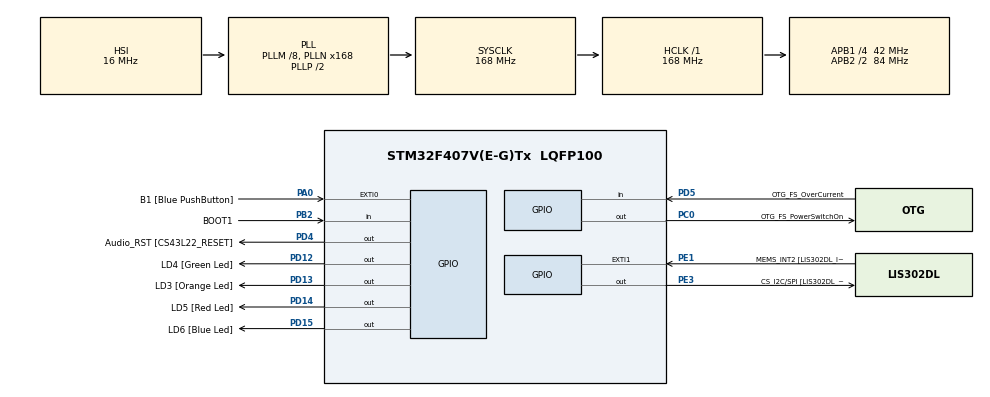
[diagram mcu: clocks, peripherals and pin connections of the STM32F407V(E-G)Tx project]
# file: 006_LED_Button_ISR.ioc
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Mcu.Family=STM32F4
Mcu.Name=STM32F407V(E-G)Tx
Mcu.Package=LQFP100
NVIC.EXTI0_IRQn=true\:6\:0\:true\:false\:true\:true\:true\:true
NVIC.PriorityGroup=NVIC_PRIORITYGROUP_4
NVIC.TIM6_DAC_IRQn=true\:0\:0\:false\:false\:true\:false\:true\:true
NVIC.TimeBase=TIM6_DAC_IRQn
NVIC.TimeBaseIP=TIM6
PA0-WKUP.GPIO_Label=B1 [Blue PushButton]
PA0-WKUP.GPIO_ModeDefaultEXTI=GPIO_MODE_IT_RISING
PA0-WKUP.Signal=GPXTI0
PA10.GPIO_Label=OTG_FS_ID
PA10.GPIO_Mode=GPIO_MODE_AF_PP
PA10.GPIO_PuPd=GPIO_NOPULL
PA10.GPIO_Speed=GPIO_SPEED_FREQ_LOW
PA10.Signal=USB_OTG_FS_ID
PA11.GPIO_Label=OTG_FS_DM
PA11.GPIO_Mode=GPIO_MODE_AF_PP
PA11.GPIO_PuPd=GPIO_NOPULL
PA11.GPIO_Speed=GPIO_SPEED_FREQ_LOW
PA11.Signal=USB_OTG_FS_DM
PA12.GPIO_Label=OTG_FS_DP
PA12.GPIO_Mode=GPIO_MODE_AF_PP
PA12.GPIO_PuPd=GPIO_NOPULL
PA12.GPIO_Speed=GPIO_SPEED_FREQ_LOW
PA12.Signal=USB_OTG_FS_DP
PA13.GPIO_Label=SWDIO
PA13.Signal=SYS_JTMS-SWDIO
PA14.GPIO_Label=SWCLK
PA14.Signal=SYS_JTCK-SWCLK
PA4.GPIO_Label=I2S3_WS [CS43L22_LRCK]
PA4.GPIO_Mode=GPIO_MODE_AF_PP
PA4.GPIO_PuPd=GPIO_NOPULL
PA4.GPIO_Speed=GPIO_SPEED_FREQ_LOW
PA4.Signal=I2S3_WS
PA5.GPIO_Label=SPI1_SCK [LIS302DL_SCL/SPC]
PA5.GPIO_Mode=GPIO_MODE_AF_PP
PA5.GPIO_PuPd=GPIO_NOPULL
PA5.GPIO_Speed=GPIO_SPEED_FREQ_LOW
PA5.Signal=SPI1_SCK
PA6.GPIO_Label=SPI1_MISO [LIS302DL_SDO]
PA6.GPIO_Mode=GPIO_MODE_AF_PP
PA6.GPIO_PuPd=GPIO_NOPULL
PA6.GPIO_Speed=GPIO_SPEED_FREQ_LOW
PA6.Signal=SPI1_MISO
PA7.GPIO_Label=SPI1_MOSI [LIS302DL_SDA/SDI/SDO]
PA7.GPIO_Mode=GPIO_MODE_AF_PP
PA7.GPIO_PuPd=GPIO_NOPULL
PA7.GPIO_Speed=GPIO_SPEED_FREQ_LOW
PA7.Signal=SPI1_MOSI
PA9.GPIO_Label=VBUS_FS
PA9.GPIO_Mode=GPIO_MODE_INPUT
PA9.GPIO_PuPd=GPIO_NOPULL
PA9.Signal=USB_OTG_FS_VBUS
PB10.GPIO_Label=CLK_IN [MP45DT02_CLK]
PB10.GPIO_Mode=GPIO_MODE_AF_PP
PB10.GPIO_PuPd=GPIO_NOPULL
PB10.GPIO_Speed=GPIO_SPEED_FREQ_LOW
PB10.Signal=I2S2_CK
PB2.GPIO_Label=BOOT1
PB2.GPIO_Mode=GPIO_MODE_INPUT
PB2.GPIO_PuPd=GPIO_NOPULL
PB2.Signal=GPIO_Input
PB3.GPIO_Label=SWO
PB3.Signal=SYS_JTDO-SWO
PB6.GPIO_Label=Audio_SCL [CS43L22_SCL]
PB6.GPIO_Mode=GPIO_MODE_AF_OD
PB6.GPIO_PuPd=GPIO_NOPULL
PB6.GPIO_Speed=GPIO_SPEED_FREQ_LOW
PB6.Signal=I2C1_SCL
PB9.GPIO_Label=Audio_SDA [CS43L22_SDA]
PB9.GPIO_Mode=GPIO_MODE_AF_OD
PB9.GPIO_PuPd=GPIO_NOPULL
PB9.GPIO_Speed=GPIO_SPEED_FREQ_LOW
PB9.Signal=I2C1_SDA
PC0.GPIO_Label=OTG_FS_PowerSwitchOn
PC0.GPIO_PuPd=GPIO_NOPULL
PC0.GPIO_Speed=GPIO_SPEED_FREQ_LOW
PC0.PinState=GPIO_PIN_SET
PC0.Signal=GPIO_Output
PC10.GPIO_Label=I2S3_SCK [CS43L22_SCLK]
PC10.GPIO_Mode=GPIO_MODE_AF_PP
PC10.GPIO_PuPd=GPIO_NOPULL
PC10.GPIO_Speed=GPIO_SPEED_FREQ_LOW
PC10.Signal=I2S3_CK
PC12.GPIO_Label=I2S3_SD [CS43L22_SDIN]
PC12.GPIO_Mode=GPIO_MODE_AF_PP
PC12.GPIO_PuPd=GPIO_NOPULL
PC12.GPIO_Speed=GPIO_SPEED_FREQ_LOW
PC12.Signal=I2S3_SD
PC14-OSC32_IN.GPIO_Label=PC14-OSC32_IN
PC14-OSC32_IN.Signal=RCC_OSC32_IN
PC15-OSC32_OUT.GPIO_Label=PC15-OSC32_OUT
PC15-OSC32_OUT.Signal=RCC_OSC32_OUT
PC3.GPIO_Label=PDM_OUT [MP45DT02_DOUT]
PC3.GPIO_Mode=GPIO_MODE_AF_PP
PC3.GPIO_PuPd=GPIO_NOPULL
PC3.GPIO_Speed=GPIO_SPEED_FREQ_LOW
PC3.Signal=I2S2_SD
PC7.GPIO_Label=I2S3_MCK [CS43L22_MCLK]
PC7.GPIO_Mode=GPIO_MODE_AF_PP
PC7.GPIO_PuPd=GPIO_NOPULL
PC7.GPIO_Speed=GPIO_SPEED_FREQ_LOW
PC7.Signal=I2S3_MCK
PD12.GPIO_Label=LD4 [Green Led]
PD12.GPIO_PuPd=GPIO_NOPULL
PD12.GPIO_Speed=GPIO_SPEED_FREQ_LOW
PD12.Signal=GPIO_Output
PD13.GPIO_Label=LD3 [Orange Led]
PD13.GPIO_PuPd=GPIO_NOPULL
PD13.GPIO_Speed=GPIO_SPEED_FREQ_LOW
PD13.Signal=GPIO_Output
PD14.GPIO_Label=LD5 [Red Led]
PD14.GPIO_PuPd=GPIO_NOPULL
PD14.GPIO_Speed=GPIO_SPEED_FREQ_LOW
PD14.Signal=GPIO_Output
PD15.GPIO_Label=LD6 [Blue Led]
PD15.GPIO_PuPd=GPIO_NOPULL
PD15.GPIO_Speed=GPIO_SPEED_FREQ_LOW
PD15.Signal=GPIO_Output
PD4.GPIO_Label=Audio_RST [CS43L22_RESET]
PD4.GPIO_PuPd=GPIO_NOPULL
PD4.GPIO_Speed=GPIO_SPEED_FREQ_LOW
PD4.Signal=GPIO_Output
PD5.GPIO_Label=OTG_FS_OverCurrent
PD5.GPIO_Mode=GPIO_MODE_INPUT
PD5.GPIO_PuPd=GPIO_NOPULL
PD5.Signal=GPIO_Input
PE1.GPIO_Label=MEMS_INT2 [LIS302DL_INT2]
PE1.GPIO_ModeDefaultEXTI=GPIO_MODE_EVT_RISING
PE1.GPIO_PuPd=GPIO_NOPULL
PE1.Signal=GPXTI1
PE3.GPIO_Label=CS_I2C/SPI [LIS302DL_CS_I2C/SPI]
PE3.GPIO_PuPd=GPIO_NOPULL
PE3.GPIO_Speed=GPIO_SPEED_FREQ_LOW
PE3.Signal=GPIO_Output
PH0-OSC_IN.GPIO_Label=PH0-OSC_IN
PH0-OSC_IN.Signal=RCC_OSC_IN
PH1-OSC_OUT.GPIO_Label=PH1-OSC_OUT
PH1-OSC_OUT.Signal=RCC_OSC_OUT
ProjectManager.HeapSize=0x200
ProjectManager.StackSize=0x400
ProjectManager.TargetToolchain=STM32CubeIDE
RCC.48MHZClocksFreq_Value=48000000
RCC.AHBFreq_Value=168000000
RCC.APB1CLKDivider=RCC_HCLK_DIV4
RCC.APB1Freq_Value=42000000
RCC.APB1TimFreq_Value=84000000
RCC.APB2CLKDivider=RCC_HCLK_DIV2
RCC.APB2Freq_Value=84000000
RCC.APB2TimFreq_Value=168000000
RCC.CortexFreq_Value=168000000
RCC.HCLKFreq_Value=168000000
RCC.HSE_VALUE=8000000
RCC.HSI_VALUE=16000000
RCC.LSE_VALUE=32768
RCC.PLLM=8
RCC.PLLN=168
RCC.PLLQ=7
RCC.SYSCLKFreq_VALUE=168000000
RCC.SYSCLKSource=RCC_SYSCLKSOURCE_PLLCLK
RCC.VCOOutputFreq_Value=336000000
VP_SYS_VS_tim6.Mode=TIM6
board=STM32F407G-DISC1

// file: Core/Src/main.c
/* USER CODE BEGIN Header */
/**
  ******************************************************************************
  * @file           : main.c
  * @brief          : Main program body
  ******************************************************************************
  * @attention
  *
  * <h2><center>&copy; Copyright (c) 2021 STMicroelectronics.
  * All rights reserved.</center></h2>
  *
  * This software component is licensed by ST under BSD 3-Clause license,
  * the "License"; You may not use this file except in compliance with the
  * License. You may obtain a copy of the License at:
  *                        opensource.org/licenses/BSD-3-Clause
  *
  ******************************************************************************
  */
/* USER CODE END Header */
#include "main.h"

/* USER CODE BEGIN Includes */

#include "FreeRTOS.h"
#include "task.h"

/* USER CODE END Includes */

/* USER CODE BEGIN PV */

#define DWT_CTRL    (*(volatile uint32_t*)0xE0001000)

/* USER CODE END PV */

void SystemClock_Config(void);
static void MX_GPIO_Init(void);
/* USER CODE BEGIN PFP */

static void led_green_handler(void* parameters);
static void led_orange_handler(void* parameters);
static void led_red_handler(void* parameters);
void button_interrupt_handler(void);
TaskHandle_t task1_handle;
TaskHandle_t task2_handle;
TaskHandle_t task3_handle;
TaskHandle_t btn_handle;
TaskHandle_t volatile next_task_handle=NULL;

extern void SEGGER_UART_init(uint32_t);
/* USER CODE END PFP */

int main(void)
{
  /* USER CODE BEGIN 1 */

	BaseType_t status;

  /* USER CODE END 1 */

  /* MCU Configuration--------------------------------------------------------*/

  /* Reset of all peripherals, Initializes the Flash interface and the Systick. */
  HAL_Init();

  /* Configure the system clock */
  SystemClock_Config();

  /* Initialize all configured peripherals */
  MX_GPIO_Init();
  /* USER CODE BEGIN 2 */

  SEGGER_UART_init(500000);

  //CYCLCNT enable for SEGGER view
  DWT_CTRL |= ( 1 << 0);

  SEGGER_SYSVIEW_Conf();

  status = xTaskCreate(led_green_handler, "LED_green_task", 200, NULL, 2, &task1_handle);

  configASSERT(status == pdPASS);
  next_task_handle =task1_handle;

  status = xTaskCreate(led_red_handler, "LED_red_task", 200,NULL, 2, &task2_handle);

  configASSERT(status == pdPASS);

  status = xTaskCreate(led_orange_handler, "LED_orange_task", 200, NULL, 2, &task3_handle);

  configASSERT(status == pdPASS);

  //start the freeRTOS scheduler
  vTaskStartScheduler();

  /* USER CODE END 2 */

  /* Infinite loop */
  while (1)
  {

  }
}

void SystemClock_Config(void)
{
  RCC_OscInitTypeDef RCC_OscInitStruct = {0};
  RCC_ClkInitTypeDef RCC_ClkInitStruct = {0};

  /** Configure the main internal regulator output voltage
  */
  __HAL_RCC_PWR_CLK_ENABLE();
  __HAL_PWR_VOLTAGESCALING_CONFIG(PWR_REGULATOR_VOLTAGE_SCALE1);

  /** Initializes the RCC Oscillators according to the specified parameters
  * in the RCC_OscInitTypeDef structure.
  */
  RCC_OscInitStruct.OscillatorType = RCC_OSCILLATORTYPE_HSI;
  RCC_OscInitStruct.HSIState = RCC_HSI_ON;
  RCC_OscInitStruct.HSICalibrationValue = RCC_HSICALIBRATION_DEFAULT;
  RCC_OscInitStruct.PLL.PLLState = RCC_PLL_ON;
  RCC_OscInitStruct.PLL.PLLSource = RCC_PLLSOURCE_HSI;
  RCC_OscInitStruct.PLL.PLLM = 8;
  RCC_OscInitStruct.PLL.PLLN = 168;
  RCC_OscInitStruct.PLL.PLLP = RCC_PLLP_DIV2;
  RCC_OscInitStruct.PLL.PLLQ = 7;
  if (HAL_RCC_OscConfig(&RCC_OscInitStruct) != HAL_OK)
  {
    Error_Handler();
  }

  /** Initializes the CPU, AHB and APB buses clocks
  */
  RCC_ClkInitStruct.ClockType = RCC_CLOCKTYPE_HCLK|RCC_CLOCKTYPE_SYSCLK
                              |RCC_CLOCKTYPE_PCLK1|RCC_CLOCKTYPE_PCLK2;
  RCC_ClkInitStruct.SYSCLKSource = RCC_SYSCLKSOURCE_PLLCLK;
  RCC_ClkInitStruct.AHBCLKDivider = RCC_SYSCLK_DIV1;
  RCC_ClkInitStruct.APB1CLKDivider = RCC_HCLK_DIV4;
  RCC_ClkInitStruct.APB2CLKDivider = RCC_HCLK_DIV2;

  if (HAL_RCC_ClockConfig(&RCC_ClkInitStruct, FLASH_LATENCY_5) != HAL_OK)
  {
    Error_Handler();
  }
}

static void MX_GPIO_Init(void)
{
  GPIO_InitTypeDef GPIO_InitStruct = {0};

  /* GPIO Ports Clock Enable */
  __HAL_RCC_GPIOE_CLK_ENABLE();
  __HAL_RCC_GPIOC_CLK_ENABLE();
  __HAL_RCC_GPIOH_CLK_ENABLE();
  __HAL_RCC_GPIOA_CLK_ENABLE();
  __HAL_RCC_GPIOB_CLK_ENABLE();
  __HAL_RCC_GPIOD_CLK_ENABLE();

  /*Configure GPIO pin Output Level */
  HAL_GPIO_WritePin(CS_I2C_SPI_GPIO_Port, CS_I2C_SPI_Pin, GPIO_PIN_RESET);

  /*Configure GPIO pin Output Level */
  HAL_GPIO_WritePin(OTG_FS_PowerSwitchOn_GPIO_Port, OTG_FS_PowerSwitchOn_Pin, GPIO_PIN_SET);

  /*Configure GPIO pin Output Level */
  HAL_GPIO_WritePin(GPIOD, LD4_Pin|LD3_Pin|LD5_Pin|LD6_Pin
                          |Audio_RST_Pin, GPIO_PIN_RESET);

  /*Configure GPIO pin : CS_I2C_SPI_Pin */
  GPIO_InitStruct.Pin = CS_I2C_SPI_Pin;
  GPIO_InitStruct.Mode = GPIO_MODE_OUTPUT_PP;
  GPIO_InitStruct.Pull = GPIO_NOPULL;
  GPIO_InitStruct.Speed = GPIO_SPEED_FREQ_LOW;
  HAL_GPIO_Init(CS_I2C_SPI_GPIO_Port, &GPIO_InitStruct);

  /*Configure GPIO pin : OTG_FS_PowerSwitchOn_Pin */
  GPIO_InitStruct.Pin = OTG_FS_PowerSwitchOn_Pin;
  GPIO_InitStruct.Mode = GPIO_MODE_OUTPUT_PP;
  GPIO_InitStruct.Pull = GPIO_NOPULL;
  GPIO_InitStruct.Speed = GPIO_SPEED_FREQ_LOW;
  HAL_GPIO_Init(OTG_FS_PowerSwitchOn_GPIO_Port, &GPIO_InitStruct);

  /*Configure GPIO pin : PDM_OUT_Pin */
  GPIO_InitStruct.Pin = PDM_OUT_Pin;
  GPIO_InitStruct.Mode = GPIO_MODE_AF_PP;
  GPIO_InitStruct.Pull = GPIO_NOPULL;
  GPIO_InitStruct.Speed = GPIO_SPEED_FREQ_LOW;
  GPIO_InitStruct.Alternate = GPIO_AF5_SPI2;
  HAL_GPIO_Init(PDM_OUT_GPIO_Port, &GPIO_InitStruct);

  /*Configure GPIO pin : B1_Pin */
  GPIO_InitStruct.Pin = B1_Pin;
  GPIO_InitStruct.Mode = GPIO_MODE_IT_RISING;
  GPIO_InitStruct.Pull = GPIO_NOPULL;
  HAL_GPIO_Init(B1_GPIO_Port, &GPIO_InitStruct);

  /*Configure GPIO pin : I2S3_WS_Pin */
  GPIO_InitStruct.Pin = I2S3_WS_Pin;
  GPIO_InitStruct.Mode = GPIO_MODE_AF_PP;
  GPIO_InitStruct.Pull = GPIO_NOPULL;
  GPIO_InitStruct.Speed = GPIO_SPEED_FREQ_LOW;
  GPIO_InitStruct.Alternate = GPIO_AF6_SPI3;
  HAL_GPIO_Init(I2S3_WS_GPIO_Port, &GPIO_InitStruct);

  /*Configure GPIO pins : SPI1_SCK_Pin SPI1_MISO_Pin SPI1_MOSI_Pin */
  GPIO_InitStruct.Pin = SPI1_SCK_Pin|SPI1_MISO_Pin|SPI1_MOSI_Pin;
  GPIO_InitStruct.Mode = GPIO_MODE_AF_PP;
  GPIO_InitStruct.Pull = GPIO_NOPULL;
  GPIO_InitStruct.Speed = GPIO_SPEED_FREQ_LOW;
  GPIO_InitStruct.Alternate = GPIO_AF5_SPI1;
  HAL_GPIO_Init(GPIOA, &GPIO_InitStruct);

  /*Configure GPIO pin : BOOT1_Pin */
  GPIO_InitStruct.Pin = BOOT1_Pin;
  GPIO_InitStruct.Mode = GPIO_MODE_INPUT;
  GPIO_InitStruct.Pull = GPIO_NOPULL;
  HAL_GPIO_Init(BOOT1_GPIO_Port, &GPIO_InitStruct);

  /*Configure GPIO pin : CLK_IN_Pin */
  GPIO_InitStruct.Pin = CLK_IN_Pin;
  GPIO_InitStruct.Mode = GPIO_MODE_AF_PP;
  GPIO_InitStruct.Pull = GPIO_NOPULL;
  GPIO_InitStruct.Speed = GPIO_SPEED_FREQ_LOW;
  GPIO_InitStruct.Alternate = GPIO_AF5_SPI2;
  HAL_GPIO_Init(CLK_IN_GPIO_Port, &GPIO_InitStruct);

  /*Configure GPIO pins : LD4_Pin LD3_Pin LD5_Pin LD6_Pin
                           Audio_RST_Pin */
  GPIO_InitStruct.Pin = LD4_Pin|LD3_Pin|LD5_Pin|LD6_Pin
                          |Audio_RST_Pin;
  GPIO_InitStruct.Mode = GPIO_MODE_OUTPUT_PP;
  GPIO_InitStruct.Pull = GPIO_NOPULL;
  GPIO_InitStruct.Speed = GPIO_SPEED_FREQ_LOW;
  HAL_GPIO_Init(GPIOD, &GPIO_InitStruct);

  /*Configure GPIO pins : I2S3_MCK_Pin I2S3_SCK_Pin I2S3_SD_Pin */
  GPIO_InitStruct.Pin = I2S3_MCK_Pin|I2S3_SCK_Pin|I2S3_SD_Pin;
  GPIO_InitStruct.Mode = GPIO_MODE_AF_PP;
  GPIO_InitStruct.Pull = GPIO_NOPULL;
  GPIO_InitStruct.Speed = GPIO_SPEED_FREQ_LOW;
  GPIO_InitStruct.Alternate = GPIO_AF6_SPI3;
  HAL_GPIO_Init(GPIOC, &GPIO_InitStruct);

  /*Configure GPIO pin : VBUS_FS_Pin */
  GPIO_InitStruct.Pin = VBUS_FS_Pin;
  GPIO_InitStruct.Mode = GPIO_MODE_INPUT;
  GPIO_InitStruct.Pull = GPIO_NOPULL;
  HAL_GPIO_Init(VBUS_FS_GPIO_Port, &GPIO_InitStruct);

  /*Configure GPIO pins : OTG_FS_ID_Pin OTG_FS_DM_Pin OTG_FS_DP_Pin */
  GPIO_InitStruct.Pin = OTG_FS_ID_Pin|OTG_FS_DM_Pin|OTG_FS_DP_Pin;
  GPIO_InitStruct.Mode = GPIO_MODE_AF_PP;
  GPIO_InitStruct.Pull = GPIO_NOPULL;
  GPIO_InitStruct.Speed = GPIO_SPEED_FREQ_LOW;
  GPIO_InitStruct.Alternate = GPIO_AF10_OTG_FS;
  HAL_GPIO_Init(GPIOA, &GPIO_InitStruct);

  /*Configure GPIO pin : OTG_FS_OverCurrent_Pin */
  GPIO_InitStruct.Pin = OTG_FS_OverCurrent_Pin;
  GPIO_InitStruct.Mode = GPIO_MODE_INPUT;
  GPIO_InitStruct.Pull = GPIO_NOPULL;
  HAL_GPIO_Init(OTG_FS_OverCurrent_GPIO_Port, &GPIO_InitStruct);

  /*Configure GPIO pins : Audio_SCL_Pin Audio_SDA_Pin */
  GPIO_InitStruct.Pin = Audio_SCL_Pin|Audio_SDA_Pin;
  GPIO_InitStruct.Mode = GPIO_MODE_AF_OD;
  GPIO_InitStruct.Pull = GPIO_NOPULL;
  GPIO_InitStruct.Speed = GPIO_SPEED_FREQ_LOW;
  GPIO_InitStruct.Alternate = GPIO_AF4_I2C1;
  HAL_GPIO_Init(GPIOB, &GPIO_InitStruct);

  /*Configure GPIO pin : MEMS_INT2_Pin */
  GPIO_InitStruct.Pin = MEMS_INT2_Pin;
  GPIO_InitStruct.Mode = GPIO_MODE_EVT_RISING;
  GPIO_InitStruct.Pull = GPIO_NOPULL;
  HAL_GPIO_Init(MEMS_INT2_GPIO_Port, &GPIO_InitStruct);

  /* EXTI interrupt init*/
  HAL_NVIC_SetPriority(EXTI0_IRQn, 6, 0);
  HAL_NVIC_EnableIRQ(EXTI0_IRQn);

}

/* USER CODE BEGIN 4 */

void button_interrupt_handler()
{
	BaseType_t pxHigherPriorityTaskWoken;
	pxHigherPriorityTaskWoken =pdFALSE;

	traceISR_ENTER();//to inform segger system view about the ISR
	//If a higher priority task is woken pxHigherPriorityTaskWoken gets equal to pdTRUE
	xTaskNotifyFromISR(next_task_handle,0,eNoAction,&pxHigherPriorityTaskWoken);
	//When ISR finishes below macro lets the higher priority task which got unblocked to resume on the CPU
	portYIELD_FROM_ISR(pxHigherPriorityTaskWoken);

	traceISR_EXIT();

}

static void led_green_handler(void* parameters)
{
	BaseType_t status;
	while(1)
	{
		SEGGER_SYSVIEW_PrintfTarget("Toggling green LED");
		HAL_GPIO_TogglePin(GPIOD, LED_GREEN_PIN);
		status=xTaskNotifyWait(0,0,NULL,pdMS_TO_TICKS(1000));
		if(status==pdTRUE)
		{
			/*
			 * Here next_task_handle, a global variable is used so it's access from other tasks or ISR's should be blocked.
			 * xTaskSuspendAll(); is able to block other tasks access but now there is also a hardware interrupt is used
			 * so instead portEnter_CRITICAL(); should be used.
			 *
			 * portEnter_CRITICAL(); does not block all interrupts it only blocks interrupts which have less priority then
			 * its declared in configMAX_SYSCALL_INTERRUPT_PRIORITY macro.
			 */
			portENTER_CRITICAL();
			next_task_handle=task2_handle;
			portEXIT_CRITICAL();
			HAL_GPIO_WritePin(GPIOD, LED_GREEN_PIN, GPIO_PIN_SET);
			SEGGER_SYSVIEW_PrintfTarget("Delete Green LED Task");
			vTaskDelete(NULL);//When null is given as the parameter,function deletes the task it's in.
		}
	}
}

static void led_orange_handler(void* parameters)
{
	BaseType_t status;

	while(1)
	{
		SEGGER_SYSVIEW_PrintfTarget("Toggling orange LED");
		HAL_GPIO_TogglePin(GPIOD, LED_ORANGE_PIN);
		status=xTaskNotifyWait(0,0,NULL,pdMS_TO_TICKS(400));
		if(status==pdTRUE)
		{
			portENTER_CRITICAL();
			next_task_handle=NULL;
			portEXIT_CRITICAL();
			HAL_GPIO_WritePin(GPIOD, LED_ORANGE_PIN, GPIO_PIN_SET);
			SEGGER_SYSVIEW_PrintfTarget("Delete Orange LED Task");
			vTaskDelete(NULL);//When null is given as the parameter,function deletes the task it's in.
		}
	}
}

static void led_red_handler(void* parameters)
{
	BaseType_t status;

	while(1)
	{
		SEGGER_SYSVIEW_PrintfTarget("Toggling RED LED");
		HAL_GPIO_TogglePin(GPIOD, LED_RED_PIN);
		status=xTaskNotifyWait(0,0,NULL,pdMS_TO_TICKS(800));
		if(status==pdTRUE)
		{
			portENTER_CRITICAL();
			next_task_handle=task3_handle;
			portEXIT_CRITICAL();
			HAL_GPIO_WritePin(GPIOD, LED_RED_PIN, GPIO_PIN_SET);
			SEGGER_SYSVIEW_PrintfTarget("Delete RED LED Task");
			vTaskDelete(NULL);//When null is given as the parameter,function deletes the task it's in.
		}
	}

}

/* USER CODE END 4 */

void HAL_TIM_PeriodElapsedCallback(TIM_HandleTypeDef *htim)
{
  if (htim->Instance == TIM6) {
    HAL_IncTick();
  }
}

void Error_Handler(void)
{
}
